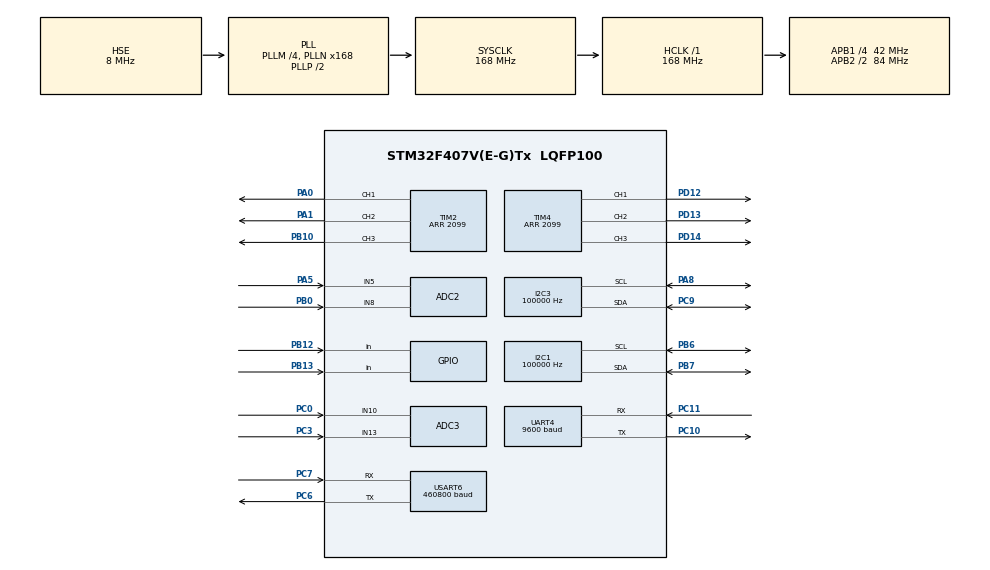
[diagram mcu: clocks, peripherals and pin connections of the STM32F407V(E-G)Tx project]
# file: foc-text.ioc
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ADC2.Channel-0\#ChannelRegularConversion=ADC_CHANNEL_5
ADC2.Channel-6\#ChannelInjectedConversion=ADC_CHANNEL_8
ADC2.Channel-7\#ChannelInjectedConversion=ADC_CHANNEL_5
ADC2.ContinuousConvMode=DISABLE
ADC2.DMAContinuousRequests=DISABLE
ADC2.EOCSelection=ADC_EOC_SINGLE_CONV
ADC2.ExternalTrigConv=ADC_SOFTWARE_START
ADC2.ExternalTrigConvEdge=ADC_EXTERNALTRIGCONVEDGE_NONE
ADC2.ExternalTrigInjecConv=ADC_EXTERNALTRIGINJECCONV_T2_TRGO
ADC2.InjNumberOfConversion=2
ADC2.InjectedConvMode=None
ADC2.InjectedOffset-6\#ChannelInjectedConversion=0
ADC2.InjectedOffset-7\#ChannelInjectedConversion=0
ADC2.InjectedRank-6\#ChannelInjectedConversion=1
ADC2.InjectedRank-7\#ChannelInjectedConversion=2
ADC2.NbrOfConversion=1
ADC2.NbrOfConversionFlag=1
ADC2.Rank-0\#ChannelRegularConversion=1
ADC2.SamplingTime-0\#ChannelRegularConversion=ADC_SAMPLETIME_56CYCLES
ADC2.SamplingTime-6\#ChannelInjectedConversion=ADC_SAMPLETIME_15CYCLES
ADC2.SamplingTime-7\#ChannelInjectedConversion=ADC_SAMPLETIME_15CYCLES
ADC2.ScanConvMode=ENABLE
ADC3.Channel-0\#ChannelRegularConversion=ADC_CHANNEL_10
ADC3.Channel-3\#ChannelInjectedConversion=ADC_CHANNEL_13
ADC3.Channel-4\#ChannelInjectedConversion=ADC_CHANNEL_10
ADC3.ContinuousConvMode=DISABLE
ADC3.DMAContinuousRequests=DISABLE
ADC3.EOCSelection=ADC_EOC_SINGLE_CONV
ADC3.EnableAnalogWatchDog=false
ADC3.ExternalTrigConv=ADC_SOFTWARE_START
ADC3.ExternalTrigConvEdge=ADC_EXTERNALTRIGCONVEDGE_NONE
ADC3.ExternalTrigInjecConv=ADC_EXTERNALTRIGINJECCONV_T4_TRGO
ADC3.InjNumberOfConversion=2
ADC3.InjectedConvMode=None
ADC3.InjectedOffset-3\#ChannelInjectedConversion=0
ADC3.InjectedOffset-4\#ChannelInjectedConversion=0
ADC3.InjectedRank-3\#ChannelInjectedConversion=1
ADC3.InjectedRank-4\#ChannelInjectedConversion=2
ADC3.NbrOfConversion=1
ADC3.NbrOfConversionFlag=1
ADC3.Rank-0\#ChannelRegularConversion=1
ADC3.SamplingTime-0\#ChannelRegularConversion=ADC_SAMPLETIME_56CYCLES
ADC3.SamplingTime-3\#ChannelInjectedConversion=ADC_SAMPLETIME_15CYCLES
ADC3.SamplingTime-4\#ChannelInjectedConversion=ADC_SAMPLETIME_15CYCLES
ADC3.ScanConvMode=ENABLE
Dma.I2C1_RX.2.Direction=DMA_PERIPH_TO_MEMORY
Dma.I2C1_RX.2.FIFOMode=DMA_FIFOMODE_DISABLE
Dma.I2C1_RX.2.Instance=DMA1_Stream5
Dma.I2C1_RX.2.MemDataAlignment=DMA_MDATAALIGN_BYTE
Dma.I2C1_RX.2.MemInc=DMA_MINC_ENABLE
Dma.I2C1_RX.2.Mode=DMA_NORMAL
Dma.I2C1_RX.2.PeriphDataAlignment=DMA_PDATAALIGN_BYTE
Dma.I2C1_RX.2.PeriphInc=DMA_PINC_DISABLE
Dma.I2C1_RX.2.Priority=DMA_PRIORITY_VERY_HIGH
Dma.I2C1_TX.3.Direction=DMA_MEMORY_TO_PERIPH
Dma.I2C1_TX.3.FIFOMode=DMA_FIFOMODE_DISABLE
Dma.I2C1_TX.3.Instance=DMA1_Stream6
Dma.I2C1_TX.3.MemDataAlignment=DMA_MDATAALIGN_BYTE
Dma.I2C1_TX.3.MemInc=DMA_MINC_ENABLE
Dma.I2C1_TX.3.Mode=DMA_NORMAL
Dma.I2C1_TX.3.PeriphDataAlignment=DMA_PDATAALIGN_BYTE
Dma.I2C1_TX.3.PeriphInc=DMA_PINC_DISABLE
Dma.I2C1_TX.3.Priority=DMA_PRIORITY_VERY_HIGH
Dma.I2C3_RX.0.Direction=DMA_PERIPH_TO_MEMORY
Dma.I2C3_RX.0.FIFOMode=DMA_FIFOMODE_DISABLE
Dma.I2C3_RX.0.Instance=DMA1_Stream2
Dma.I2C3_RX.0.MemDataAlignment=DMA_MDATAALIGN_BYTE
Dma.I2C3_RX.0.MemInc=DMA_MINC_ENABLE
Dma.I2C3_RX.0.Mode=DMA_NORMAL
Dma.I2C3_RX.0.PeriphDataAlignment=DMA_PDATAALIGN_BYTE
Dma.I2C3_RX.0.PeriphInc=DMA_PINC_DISABLE
Dma.I2C3_RX.0.Priority=DMA_PRIORITY_VERY_HIGH
Dma.I2C3_TX.1.Direction=DMA_MEMORY_TO_PERIPH
Dma.I2C3_TX.1.FIFOMode=DMA_FIFOMODE_DISABLE
Dma.I2C3_TX.1.Instance=DMA1_Stream4
Dma.I2C3_TX.1.MemDataAlignment=DMA_MDATAALIGN_BYTE
Dma.I2C3_TX.1.MemInc=DMA_MINC_ENABLE
Dma.I2C3_TX.1.Mode=DMA_NORMAL
Dma.I2C3_TX.1.PeriphDataAlignment=DMA_PDATAALIGN_BYTE
Dma.I2C3_TX.1.PeriphInc=DMA_PINC_DISABLE
Dma.I2C3_TX.1.Priority=DMA_PRIORITY_VERY_HIGH
Dma.Request0=I2C3_RX
Dma.Request1=I2C3_TX
Dma.Request2=I2C1_RX
Dma.Request3=I2C1_TX
I2C1.ClockSpeed=100000
I2C1.I2C_Mode=I2C_Standard
I2C3.ClockSpeed=100000
I2C3.I2C_Mode=I2C_Standard
Mcu.Family=STM32F4
Mcu.Name=STM32F407V(E-G)Tx
Mcu.Package=LQFP100
NVIC.ADC_IRQn=true\:0\:0\:true\:false\:true\:true\:true\:true
NVIC.DMA1_Stream2_IRQn=true\:1\:0\:true\:false\:true\:false\:true\:true
NVIC.DMA1_Stream4_IRQn=true\:1\:0\:true\:false\:true\:false\:true\:true
NVIC.DMA1_Stream5_IRQn=true\:1\:0\:true\:false\:true\:false\:true\:true
NVIC.DMA1_Stream6_IRQn=true\:1\:0\:true\:false\:true\:false\:true\:true
NVIC.I2C1_ER_IRQn=true\:8\:0\:true\:false\:true\:true\:true\:true
NVIC.I2C1_EV_IRQn=true\:1\:0\:true\:false\:true\:true\:true\:true
NVIC.I2C3_ER_IRQn=true\:8\:0\:true\:false\:true\:true\:true\:true
NVIC.I2C3_EV_IRQn=true\:1\:0\:true\:false\:true\:true\:true\:true
NVIC.PriorityGroup=NVIC_PRIORITYGROUP_4
NVIC.TIM3_IRQn=true\:4\:0\:true\:false\:true\:true\:true\:true
NVIC.TIM5_IRQn=true\:5\:0\:true\:false\:true\:true\:true\:true
NVIC.UART4_IRQn=true\:6\:0\:true\:false\:true\:true\:true\:true
NVIC.USART6_IRQn=true\:7\:0\:true\:false\:true\:true\:true\:true
PA0-WKUP.GPIO_Speed=GPIO_SPEED_FREQ_VERY_HIGH
PA0-WKUP.Signal=S_TIM2_CH1_ETR
PA1.GPIO_Speed=GPIO_SPEED_FREQ_VERY_HIGH
PA1.Signal=S_TIM2_CH2
PA13.Mode=Serial_Wire
PA13.Signal=SYS_JTMS-SWDIO
PA14.Mode=Serial_Wire
PA14.Signal=SYS_JTCK-SWCLK
PA5.GPIO_Mode=GPIO_MODE_ANALOG
PA5.Signal=ADCx_IN5
PA8.GPIO_Pu=GPIO_PULLUP
PA8.GPIO_Speed=GPIO_SPEED_FREQ_VERY_HIGH
PA8.Mode=I2C
PA8.Signal=I2C3_SCL
PB0.Signal=ADCx_IN8
PB10.GPIO_Speed=GPIO_SPEED_FREQ_VERY_HIGH
PB10.Signal=S_TIM2_CH3
PB12.GPIO_Mode=GPIO_MODE_INPUT
PB12.Signal=GPIO_Input
PB13.GPIO_Mode=GPIO_MODE_INPUT
PB13.Signal=GPIO_Input
PB6.GPIO_Pu=GPIO_PULLUP
PB6.GPIO_Speed=GPIO_SPEED_FREQ_VERY_HIGH
PB6.Mode=I2C
PB6.Signal=I2C1_SCL
PB7.GPIO_Pu=GPIO_PULLUP
PB7.GPIO_Speed=GPIO_SPEED_FREQ_VERY_HIGH
PB7.Mode=I2C
PB7.Signal=I2C1_SDA
PC0.Signal=ADCx_IN10
PC10.GPIO_Speed=GPIO_SPEED_FREQ_HIGH
PC10.Mode=Asynchronous
PC10.Signal=UART4_TX
PC11.GPIO_Speed=GPIO_SPEED_FREQ_HIGH
PC11.Mode=Asynchronous
PC11.Signal=UART4_RX
PC3.Signal=ADCx_IN13
PC6.GPIO_Speed=GPIO_SPEED_FREQ_HIGH
PC6.Mode=Asynchronous
PC6.Signal=USART6_TX
PC7.GPIO_Speed=GPIO_SPEED_FREQ_HIGH
PC7.Mode=Asynchronous
PC7.Signal=USART6_RX
PC9.GPIO_Pu=GPIO_PULLUP
PC9.GPIO_Speed=GPIO_SPEED_FREQ_VERY_HIGH
PC9.Mode=I2C
PC9.Signal=I2C3_SDA
PD12.GPIO_Speed=GPIO_SPEED_FREQ_VERY_HIGH
PD12.Signal=S_TIM4_CH1
PD13.GPIO_Speed=GPIO_SPEED_FREQ_VERY_HIGH
PD13.Signal=S_TIM4_CH2
PD14.GPIO_Speed=GPIO_SPEED_FREQ_VERY_HIGH
PD14.Signal=S_TIM4_CH3
PH0-OSC_IN.Mode=HSE-External-Oscillator
PH0-OSC_IN.Signal=RCC_OSC_IN
PH1-OSC_OUT.Mode=HSE-External-Oscillator
PH1-OSC_OUT.Signal=RCC_OSC_OUT
ProjectManager.HeapSize=0x400
ProjectManager.StackSize=0x1000
ProjectManager.TargetToolchain=MDK-ARM V5.32
RCC.48MHZClocksFreq_Value=84000000
RCC.AHBFreq_Value=168000000
RCC.APB1CLKDivider=RCC_HCLK_DIV4
RCC.APB1Freq_Value=42000000
RCC.APB1TimFreq_Value=84000000
RCC.APB2CLKDivider=RCC_HCLK_DIV2
RCC.APB2Freq_Value=84000000
RCC.APB2TimFreq_Value=168000000
RCC.CortexFreq_Value=168000000
RCC.HCLKFreq_Value=168000000
RCC.HSE_VALUE=8000000
RCC.HSI_VALUE=16000000
RCC.LSE_VALUE=32768
RCC.PLLM=4
RCC.PLLN=168
RCC.PLLSourceVirtual=RCC_PLLSOURCE_HSE
RCC.SYSCLKFreq_VALUE=168000000
RCC.SYSCLKSource=RCC_SYSCLKSOURCE_PLLCLK
RCC.VCOOutputFreq_Value=336000000
SH.ADCx_IN10.0=ADC3_IN10,IN10
SH.ADCx_IN13.0=ADC3_IN13,IN13
SH.ADCx_IN5.0=ADC2_IN5,IN5
SH.ADCx_IN8.0=ADC2_IN8,IN8
SH.S_TIM2_CH1_ETR.0=TIM2_CH1,PWM Generation1 CH1
SH.S_TIM2_CH2.0=TIM2_CH2,PWM Generation2 CH2
SH.S_TIM2_CH3.0=TIM2_CH3,PWM Generation3 CH3
SH.S_TIM4_CH1.0=TIM4_CH1,PWM Generation1 CH1
SH.S_TIM4_CH2.0=TIM4_CH2,PWM Generation2 CH2
SH.S_TIM4_CH3.0=TIM4_CH3,PWM Generation3 CH3
STMicroelectronics.X-CUBE-ALGOBUILD.1.4.0.LibraryCcDSPOoLibraryJjDSPOoLibrary=true
TIM2.AutoReloadPreload=TIM_AUTORELOAD_PRELOAD_ENABLE
TIM2.Channel-PWM\ Generation1\ CH1=TIM_CHANNEL_1
TIM2.Channel-PWM\ Generation2\ CH2=TIM_CHANNEL_2
TIM2.Channel-PWM\ Generation3\ CH3=TIM_CHANNEL_3
TIM2.Channel-PWM\ Generation4\ No\ Output=TIM_CHANNEL_4
TIM2.CounterMode=TIM_COUNTERMODE_CENTERALIGNED1
TIM2.Period=2099
TIM2.Pulse-PWM\ Generation1\ CH1=1050
TIM2.Pulse-PWM\ Generation2\ CH2=1050
TIM2.Pulse-PWM\ Generation3\ CH3=1050
TIM2.Pulse-PWM\ Generation4\ No\ Output=1050
TIM2.TIM_MasterOutputTrigger=TIM_TRGO_OC4REF
TIM2.TIM_MasterSlaveMode=TIM_MASTERSLAVEMODE_DISABLE
TIM3.Period=499
TIM3.Prescaler=167
TIM4.AutoReloadPreload=TIM_AUTORELOAD_PRELOAD_ENABLE
TIM4.Channel-PWM\ Generation1\ CH1=TIM_CHANNEL_1
TIM4.Channel-PWM\ Generation2\ CH2=TIM_CHANNEL_2
TIM4.Channel-PWM\ Generation3\ CH3=TIM_CHANNEL_3
TIM4.Channel-PWM\ Generation4\ No\ Output=TIM_CHANNEL_4
TIM4.CounterMode=TIM_COUNTERMODE_CENTERALIGNED1
TIM4.Period=2099
TIM4.Pulse-PWM\ Generation1\ CH1=1050
TIM4.Pulse-PWM\ Generation2\ CH2=1050
TIM4.Pulse-PWM\ Generation3\ CH3=1050
TIM4.Pulse-PWM\ Generation4\ No\ Output=1050
TIM4.TIM_MasterOutputTrigger=TIM_TRGO_OC4REF
TIM4.TIM_MasterSlaveMode=TIM_MASTERSLAVEMODE_DISABLE
TIM5.Period=1999
TIM5.Prescaler=167
UART4.BaudRate=9600
UART4.VirtualMode=Asynchronous
USART6.BaudRate=460800
USART6.VirtualMode=VM_ASYNC
VP_STMicroelectronics.X-CUBE-ALGOBUILD_VS_DSPOoLibraryJjLibrary_1.4.0_1.4.0.Mode=DSPOoLibraryJjLibrary
VP_TIM2_VS_ClockSourceINT.Mode=Internal
VP_TIM2_VS_no_output4.Mode=PWM Generation4 No Output
VP_TIM3_VS_ClockSourceINT.Mode=Internal
VP_TIM4_VS_ClockSourceINT.Mode=Internal
VP_TIM4_VS_no_output4.Mode=PWM Generation4 No Output
VP_TIM5_VS_ClockSourceINT.Mode=Internal
board=custom

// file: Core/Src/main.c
/* USER CODE BEGIN Header */
/**
 ******************************************************************************
 * @file           : main.c
 * @brief          : Main program body
 ******************************************************************************
 * @attention
 *
 * Copyright (c) 2025 STMicroelectronics.
 * All rights reserved.
 *
 * This software is licensed under terms that can be found in the LICENSE file
 * in the root directory of this software component.
 * If no LICENSE file comes with this software, it is provided AS-IS.
 *
 ******************************************************************************
 */
/* USER CODE END Header */
#include "main.h"
#include "adc.h"
#include "dma.h"
#include "i2c.h"
#include "tim.h"
#include "usart.h"
#include "gpio.h"

/* USER CODE BEGIN Includes */
#include "Allfile.h"

/* USER CODE END Includes */

/* USER CODE BEGIN PV */
FOC_Motor_t motor1;
FOC_Motor_t motor2;
AS5600_t as5600_l;
AS5600_t as5600_r;
/* USER CODE END PV */

void SystemClock_Config(void);

int main(void)
{

  /* MCU Configuration--------------------------------------------------------*/

  /* Reset of all peripherals, Initializes the Flash interface and the Systick. */
  HAL_Init();

  /* Configure the system clock */
  SystemClock_Config();

  /* Initialize all configured peripherals */
  MX_GPIO_Init();
  MX_DMA_Init();
  MX_TIM2_Init();
  MX_TIM4_Init();
  MX_ADC2_Init();
  MX_ADC3_Init();
  MX_I2C1_Init();
  MX_I2C3_Init();
  MX_USART6_UART_Init();
  MX_TIM3_Init();
  MX_UART4_Init();
  MX_TIM5_Init();
  /* USER CODE BEGIN 2 */
  // ============================================================================
  // 第一阶段：基础外设初始化（不涉及控制）
  // ============================================================================
  JY60_Init();
  AS5600_Init(&as5600_l, &hi2c1, 7);           // 初始化左轮编码器
  AS5600_Init(&as5600_r, &hi2c3, 7);           // 初始化右轮编码器
  HAL_TIM_Base_Start_IT(&htim3);               // 启动编码器调度定时器
  // ============================================================================
  // 第二阶段：PWM和ADC初始化（启动ADC转换但不启动中断）
  // ============================================================================
  ADC_Measure_Init();                          // 先启动PWM和ADC转换（无中断）
  HAL_Delay(100);                              // 等待PWM和ADC稳定
  // ============================================================================
  // 第三阶段：FOC电机对象初始化（不启动控制）
  // ============================================================================
  FOC_Init(&motor1, 7);                        // 7对极
  FOC_Init(&motor2, 7);                        // 7对极
  FOC_AttachDefaultHAL(&motor1);               // 绑定各外设
  FOC_AttachMotor2HAL(&motor2);                // 绑定各外设
  FOC_SetVoltageLimit(&motor1, 12.0f);         // 12V供电
  FOC_SetVoltageLimit(&motor2, 12.0f);         // 12V供电
  FOC_SetCurrentLimit(&motor1, 2.0f);          // 设定电流限制
  FOC_SetCurrentLimit(&motor2, 2.0f);          // 设定电流限制
  FOC_SetMode(&motor1, FOC_MODE_TORQUE);       // 转矩模式
  FOC_SetMode(&motor2, FOC_MODE_TORQUE);       // 转矩模式
  FOC_SetTarget(&motor1, 0.0f);                // 初始目标电流为0
  FOC_SetTarget(&motor2, 0.0f);                // 初始目标电流为0
  // ============================================================================
  // 第四阶段：电机校准（需要PWM输出，但不需要电流环）
  // ============================================================================
  FOC_CalibrateDirection(&motor1);             // 方向校准
  FOC_CalibrateZeroOffset(&motor1);            // 零点校准
  HAL_Delay(50);
  FOC_CalibrateDirection(&motor2);             // 方向校准
  FOC_CalibrateZeroOffset(&motor2);            // 零点校准
  // ============================================================================
  // 第五阶段：电流传感器校准（需要ADC转换，但不需要中断）
  // ============================================================================
  ADC_Calibrate_Current_Sensors();             // 校准电流传感器零点
  // ============================================================================
  // 第六阶段：启动ADC中断和电流环控制
  // ============================================================================
  ADC_Start_Interrupt();                       // 启动ADC中断，开始FOC电流环控制
  // ============================================================================
  // 第七阶段：平衡控制初始化
  // ============================================================================
  // balance_init(&vpid, 0.065f, 0.006f, -28.1f); // 直立环初始化
  // speed_init(&spid, -0.1f, -0.0f, 0.0f);       // 速度环初始化
  // HAL_TIM_Base_Start_IT(&htim5);               // 启动速度环定时器
  /* USER CODE END 2 */

  /* Infinite loop */
  /* USER CODE BEGIN WHILE */
  while (1)
  {

   // printf("angle:%.3f,%.3f,%.3f,%.3f\n", target_angle, vel, vel_left, vel_right);
   key_currentLoop();
   vofa_currentLoop();

    /* USER CODE END WHILE */

  }
}

void SystemClock_Config(void)
{
  RCC_OscInitTypeDef RCC_OscInitStruct = {0};
  RCC_ClkInitTypeDef RCC_ClkInitStruct = {0};

  /** Configure the main internal regulator output voltage
  */
  __HAL_RCC_PWR_CLK_ENABLE();
  __HAL_PWR_VOLTAGESCALING_CONFIG(PWR_REGULATOR_VOLTAGE_SCALE1);

  /** Initializes the RCC Oscillators according to the specified parameters
  * in the RCC_OscInitTypeDef structure.
  */
  RCC_OscInitStruct.OscillatorType = RCC_OSCILLATORTYPE_HSE;
  RCC_OscInitStruct.HSEState = RCC_HSE_ON;
  RCC_OscInitStruct.PLL.PLLState = RCC_PLL_ON;
  RCC_OscInitStruct.PLL.PLLSource = RCC_PLLSOURCE_HSE;
  RCC_OscInitStruct.PLL.PLLM = 4;
  RCC_OscInitStruct.PLL.PLLN = 168;
  RCC_OscInitStruct.PLL.PLLP = RCC_PLLP_DIV2;
  RCC_OscInitStruct.PLL.PLLQ = 4;
  if (HAL_RCC_OscConfig(&RCC_OscInitStruct) != HAL_OK)
  {
    Error_Handler();
  }

  /** Initializes the CPU, AHB and APB buses clocks
  */
  RCC_ClkInitStruct.ClockType = RCC_CLOCKTYPE_HCLK|RCC_CLOCKTYPE_SYSCLK
                              |RCC_CLOCKTYPE_PCLK1|RCC_CLOCKTYPE_PCLK2;
  RCC_ClkInitStruct.SYSCLKSource = RCC_SYSCLKSOURCE_PLLCLK;
  RCC_ClkInitStruct.AHBCLKDivider = RCC_SYSCLK_DIV1;
  RCC_ClkInitStruct.APB1CLKDivider = RCC_HCLK_DIV4;
  RCC_ClkInitStruct.APB2CLKDivider = RCC_HCLK_DIV2;

  if (HAL_RCC_ClockConfig(&RCC_ClkInitStruct, FLASH_LATENCY_5) != HAL_OK)
  {
    Error_Handler();
  }
}

void Error_Handler(void)
{
  __disable_irq();
  while (1)
  {
  }
}
